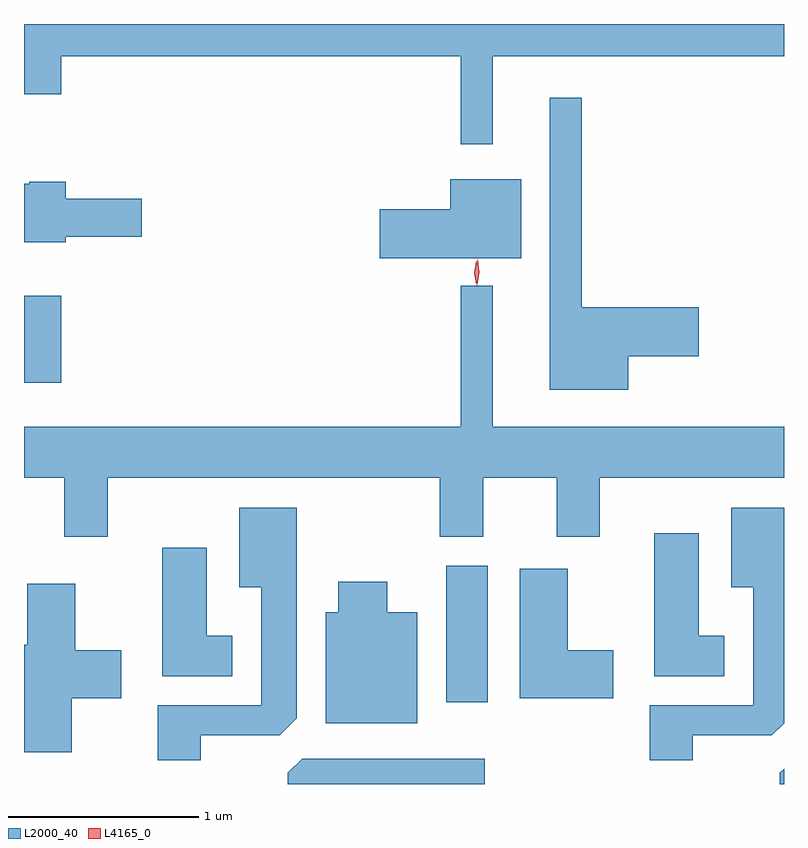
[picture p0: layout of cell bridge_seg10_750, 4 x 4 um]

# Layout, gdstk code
import gdstk
lib = gdstk.Library(unit=1e-6, precision=1e-09)
def R(c, l, rs):  # rectangles x0, y0, x1, y1
    for r in rs: c.add(gdstk.rectangle(r[:2], r[2:], *l))
def P(c, l, *ps):  # polygons
    for p in ps: c.add(gdstk.Polygon(p, *l))
L2000_40 = (2000, 40)
L4165_0 = (4165, 0)

bridge_seg10_750 = lib.new_cell('bridge_seg10_750')
R(bridge_seg10_750, L2000_40, [(577.876,2121.616,578.094,2122.334), (575.653,2123.296,575.849,2123.754)])
P(bridge_seg10_750, L2000_40, [(578.119,2125.016),(579.653,2125.016),(579.653,2125.185),(575.653,2125.185),(575.653,2124.816),(575.849,2124.816),(575.849,2125.016),(577.951,2125.016),(577.951,2124.553),(578.119,2124.553)],
  [(578.834,2123.436),(579.204,2123.436),(579.204,2123.694),(578.589,2123.694),(578.589,2124.798),(578.421,2124.798),(578.421,2123.261),(578.834,2123.261)],
  [(578.269,2124.369),(577.896,2124.369),(577.896,2124.209),(577.526,2124.209),(577.526,2123.951),(578.269,2123.951)],
  [(575.874,2124.066),(576.274,2124.066),(576.274,2124.264),(575.874,2124.264),(575.874,2124.354),(575.68,2124.354),(575.68,2124.344),(575.653,2124.344),(575.653,2124.036),(575.874,2124.036)],
  [(576.094,2122.796),(577.841,2122.796),(577.841,2122.486),(578.069,2122.486),(578.069,2122.796),(578.456,2122.796),(578.456,2122.486),(578.684,2122.486),(578.684,2122.796),(579.653,2122.796),(579.653,2123.064),(578.119,2123.064),(578.119,2123.808),(577.951,2123.808),(577.951,2123.064),(575.653,2123.064),(575.653,2122.796),(575.866,2122.796),(575.866,2122.486),(576.094,2122.486)],
  [(576.584,2121.441),(576.999,2121.441),(577.089,2121.532),(577.089,2122.639),(576.786,2122.639),(576.786,2122.221),(576.901,2122.221),(576.901,2121.599),(576.356,2121.599),(576.356,2121.311),(576.584,2121.311)],
  [(579.174,2121.441),(579.589,2121.441),(579.653,2121.506),(579.653,2122.639),(579.376,2122.639),(579.376,2122.221),(579.491,2122.221),(579.491,2121.599),(578.946,2121.599),(578.946,2121.311),(579.174,2121.311)],
  [(579.339,2121.964),(579.204,2121.964),(579.204,2122.504),(578.971,2122.504),(578.971,2121.751),(579.339,2121.751)],
  [(576.749,2121.964),(576.614,2121.964),(576.614,2122.429),(576.381,2122.429),(576.381,2121.751),(576.749,2121.751)],
  [(578.754,2121.889),(578.514,2121.889),(578.514,2122.319),(578.261,2122.319),(578.261,2121.636),(578.754,2121.636)],
  [(577.724,2122.089),(577.564,2122.089),(577.564,2122.249),(577.306,2122.249),(577.306,2122.089),(577.241,2122.089),(577.241,2121.506),(577.724,2121.506)],
  [(575.904,2121.636),(576.164,2121.636),(576.164,2121.889),(575.924,2121.889),(575.924,2122.239),(575.671,2122.239),(575.671,2121.919),(575.653,2121.919),(575.653,2121.351),(575.904,2121.351)],
  [(578.078,2121.319),(577.117,2121.319),(577.041,2121.244),(577.041,2121.185),(578.078,2121.185)],
  [(579.653,2121.266),(579.631,2121.244),(579.631,2121.185),(579.653,2121.185)])
P(bridge_seg10_750, L4165_0, [(578.038,2123.81),(578.03,2123.878),(578.04,2123.946),(578.041,2123.946),(578.041,2123.946),(578.05,2123.878),(578.039,2123.81),(578.039,2123.81)],
  [(578.032,2123.813),(578.032,2123.814),(578.022,2123.876),(578.032,2123.939),(578.032,2123.94),(578.032,2123.939),(578.042,2123.876),(578.032,2123.814)])

lib.write_gds('bridge_seg10_750.gds')
